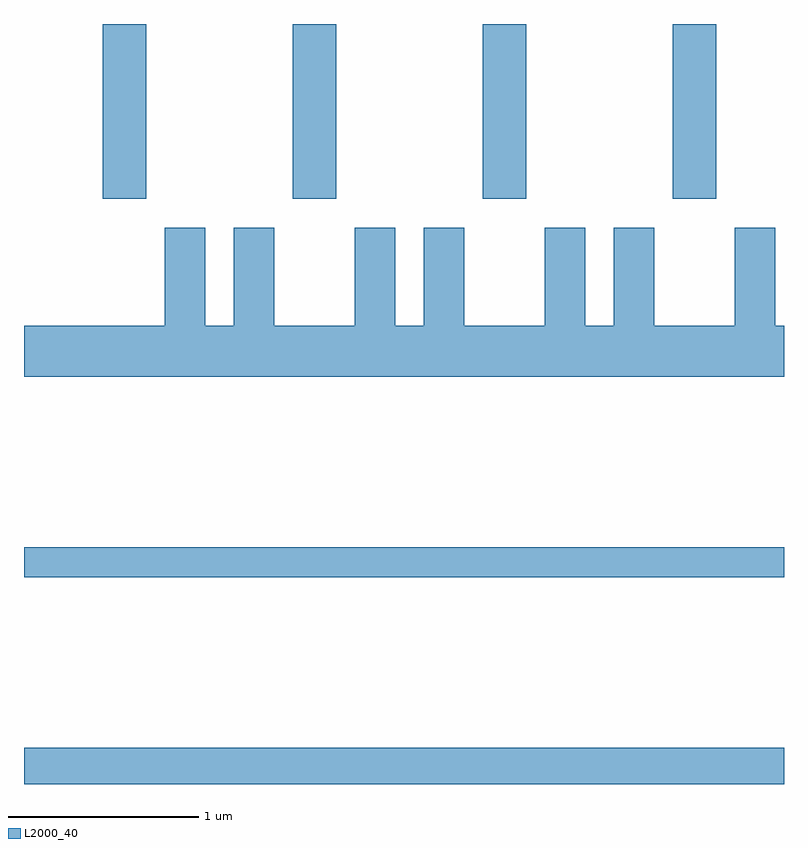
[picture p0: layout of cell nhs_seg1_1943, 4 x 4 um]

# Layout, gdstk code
import gdstk
lib = gdstk.Library(unit=1e-6, precision=1e-09)
def R(c, l, rs):  # rectangles x0, y0, x1, y1
    for r in rs: c.add(gdstk.rectangle(r[:2], r[2:], *l))
def A(c, l, x, y, w, h, nx, ny, dx, dy):  # array of equal rectangles
    R(c, l, [(x+i*dx, y+j*dy, x+i*dx+w, y+j*dy+h) for i in range(nx) for j in range(ny)])
def P(c, l, *ps):  # polygons
    for p in ps: c.add(gdstk.Polygon(p, *l))
L2000_40 = (2000, 40)

nhs_seg1_1943 = lib.new_cell('nhs_seg1_1943')
A(nhs_seg1_1943, L2000_40, 246.026, 842.791, 0.228, 0.921, 4, 1, 1, 0)
R(nhs_seg1_1943, L2000_40, [(245.611,839.712,249.611,839.904), (245.611,840.801,249.611,840.959)])
P(nhs_seg1_1943, L2000_40, [(249.611,842.124),(249.564,842.124),(249.564,842.639),(249.351,842.639),(249.351,842.124),(248.929,842.124),(248.929,842.639),(248.716,842.639),(248.716,842.124),(248.564,842.124),(248.564,842.639),(248.351,842.639),(248.351,842.124),(247.929,842.124),(247.929,842.639),(247.716,842.639),(247.716,842.124),(247.564,842.124),(247.564,842.639),(247.351,842.639),(247.351,842.124),(246.929,842.124),(246.929,842.639),(246.716,842.639),(246.716,842.124),(246.564,842.124),(246.564,842.639),(246.351,842.639),(246.351,842.124),(245.611,842.124),(245.611,841.856),(249.611,841.856)])

lib.write_gds('nhs_seg1_1943.gds')
